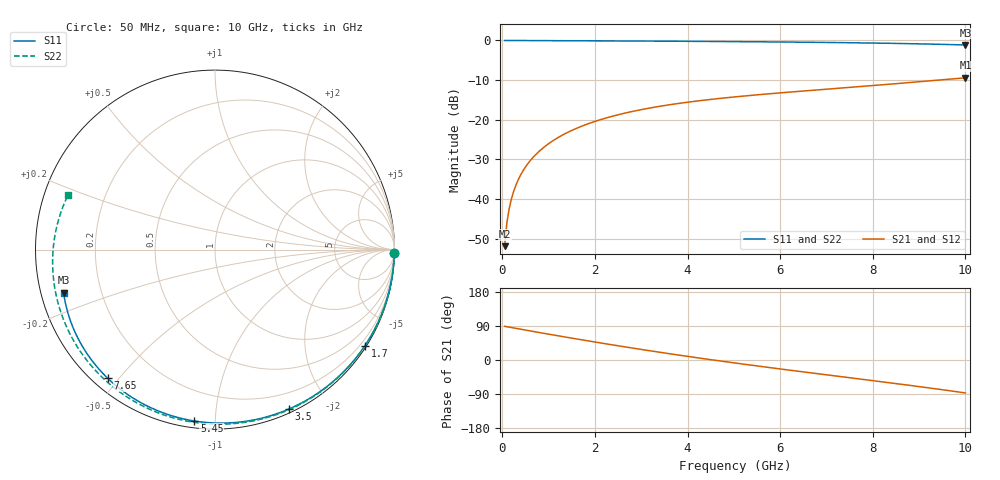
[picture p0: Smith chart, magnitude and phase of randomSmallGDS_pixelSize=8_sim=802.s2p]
! freq	dB(S11)	phase(S11)	dB(S12)	phase(S12)
!  dB(S21)	phase(S21)	dB(S22)	phase(S22)
!S-par simulation data
#  GHz  S  DB  R 50
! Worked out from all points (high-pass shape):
!   200 points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, 50 MHz to 10 GHz, reference 50 ohm
!   highest |S21| = -9.43 dB at 10 GHz (marker M1); lowest = -51.9 dB at 50 MHz (marker M2)
!   |S21| within 3 dB of the highest: 6.853 GHz to end of sweep
!   lowest |S11| = -1.1 dB at 10 GHz (marker M3), VSWR 15.28, Z = 3.33 - j6.93 ohm
!   |S11| at or under -10 dB: nowhere
!   |S22| runs from -1.2 to 0.0 dB; largest |S21 - S12| = 0
!   S11 on the Smith chart (normalised r, x): 50 MHz: open; 1.7 GHz: 0.05, -3.41; 3.5 GHz: 0.04, -1.57; 5.45 GHz: 0.03, -0.89; 7.65 GHz: 0.04, -0.47; 10 GHz: 0.07, -0.14
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0.05  -0.01 -1.0  -51.86 88.9  -51.86 88.9  -0.01 -1.2
0.1  -0.01 -2.0  -45.84 87.8  -45.84 87.8  -0.01 -2.4
0.15  -0.01 -2.9  -42.32 86.7  -42.32 86.7  -0.01 -3.6
0.2  -0.01 -3.9  -39.83 85.5  -39.83 85.5  -0.01 -4.8
0.3  -0.01 -5.9  -36.31 83.3  -36.31 83.3  -0.02 -7.1
0.45  -0.02 -8.8  -32.82 80.0  -32.82 80.0  -0.02 -10.7
0.65  -0.02 -12.6  -29.67 75.7  -29.67 75.7  -0.03 -15.4
0.95  -0.03 -18.4  -26.46 69.2  -26.46 69.2  -0.04 -22.5
1.3  -0.05 -25.1  -23.85 61.8  -23.85 61.8  -0.06 -30.6
1.7  -0.07 -32.7  -21.69 53.6  -21.69 53.6  -0.08 -39.8
1.75  -0.07 -33.6  -21.46 52.5  -21.46 52.5  -0.08 -40.9
2.6  -0.12 -49.2  -18.45 35.5  -18.45 35.5  -0.14 -59.7
3.4  -0.18 -63.3  -16.60 20.4  -16.60 20.4  -0.19 -76.5
3.5  -0.18 -65.0  -16.41 18.5  -16.41 18.5  -0.20 -78.5
4.25  -0.24 -77.7  -15.21 5.2  -15.21 5.2  -0.26 -93.5
5.05  -0.30 -90.6  -14.20 -8.4  -14.20 -8.4  -0.32 -108.7
5.45  -0.34 -96.9  -13.77 -14.9  -13.77 -14.9  -0.36 -116.2
6.7  -0.47 -115.8  -12.57 -34.5  -12.57 -34.5  -0.50 -138.7
7.65  -0.60 -129.8  -11.70 -49.0  -11.70 -49.0  -0.64 -155.7
8.35  -0.72 -140.0  -11.05 -59.8  -11.05 -59.8  -0.76 -168.4
9.2  -0.91 -152.3  -10.22 -73.4  -10.22 -73.4  -0.95 175.6
10  -1.14 -164.2  -9.43 -86.9  -9.43 -86.9  -1.17 159.7
